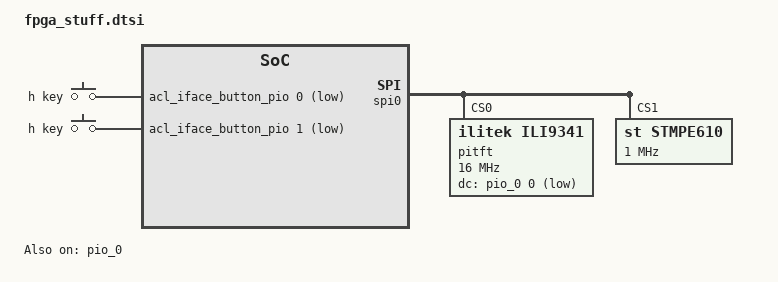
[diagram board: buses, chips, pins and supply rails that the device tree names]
/*
 *  Copyright (C) 2012 Altera Corporation <www.altera.com>
 *
 * This program is free software; you can redistribute it and/or modify
 * it under the terms of the GNU General Public License as published by
 * the Free Software Foundation; either version 2 of the License, or
 * (at your option) any later version.
 *
 * This program is distributed in the hope that it will be useful,
 * but WITHOUT ANY WARRANTY; without even the implied warranty of
 * MERCHANTABILITY or FITNESS FOR A PARTICULAR PURPOSE.  See the
 * GNU General Public License for more details.
 *
 * You should have received a copy of the GNU General Public License
 * along with this program.  If not, see <http://www.gnu.org/licenses/>.
 */

/ {
	#address-cells = <1>;
	#size-cells = <1>;

	hps_0_bridges: bridge@0xc0000000 {
		compatible = "altr,bridge-14.1", "simple-bus";
		reg = <0xc0000000 0x20000000>,
			<0xff200000 0x00200000>;
		reg-names = "axi_h2f", "axi_h2f_lw";
		#address-cells = <2>;
		#size-cells = <1>;
		ranges = <0x00000000 0x00000000 0xc0000000 0x00010000>,
			<0x00000001 0x00002000 0xff202000 0x00000010>,
			<0x00000001 0x00003000 0xff203000 0x00000010>;

		pio_0: gpio@0x100000000 {
			status = "okay";

			compatible = "altr,pio-14.1", "altr,pio-1.0";
			reg = <0x00000001 0x00002000 0x00000010>;
			altr,gpio-bank-width = <32>;	/* embeddedsw.dts.params.altr,gpio-bank-width type NUMBER */
			resetvalue = <0>;	/* embeddedsw.dts.params.resetvalue type NUMBER */
			#gpio-cells = <2>;
			gpio-controller;
		}; //end gpio@0x100000000 (pio_0)
		
		acl_iface_button_pio: gpio@0x100003000 {
			compatible = "altr,pio-15.0", "altr,pio-1.0";
			reg = <0x00000001 0x00003000 0x00000010>;
			interrupt-parent = <&intc>;
			interrupts = <0 41 1>;
			altr,gpio-bank-width = <2>;	/* embeddedsw.dts.params.altr,gpio-bank-width type NUMBER */
			altr,interrupt_type = <2>;	/* embeddedsw.dts.params.altr,interrupt_type type NUMBER */
			edge_type = <1>;	/* embeddedsw.dts.params.edge_type type NUMBER */
			level_trigger = <0>;	/* embeddedsw.dts.params.level_trigger type NUMBER */
			resetvalue = <0>;	/* embeddedsw.dts.params.resetvalue type NUMBER */
			#gpio-cells = <2>;
			gpio-controller;
		}; //end gpio@0x100003000 (acl_iface_button_pio)
	}; //end bridge@0xc0000000 (hps_0_bridges)

	/*
	//doesn't seem to work with gpio driver.  using polled instead.
	gpio_keys {
		compatible = "gpio-keys";
		#address-cells = <1>;
		#size-cells = <0>;
		autorepeat;
		button@21 {
			label = "h key";
			linux,code = <35>;
			gpios = <&acl_iface_button_pio 0 1>;
			gpio-key,wakeup;
			autorepeat;
		};
	};*/
	
	gpio_keys_polled {
		compatible = "gpio-keys-polled";
		#address-cells = <1>;
		#size-cells = <0>;
		poll-interval = <100>;
		//autorepeat;
		button@21 {
			label = "h key";
			linux,code = <35>;
			gpios = <&acl_iface_button_pio 0 1>;
		};
		button@22 {
			label = "h key";
			linux,code = <35>;
			gpios = <&acl_iface_button_pio 1 1>;
		};
		/*button@22 {
			label = "r key";
			linux,code = <19>;
			gpios = <&acl_iface_button_pio 1 1>;
		};*/
	};
};

&spi0 {
/*	compatible = "snps,dw-spi-mmio";
	#address-cells = <1>;
	#size-cells = <0>;
	reg = <0xfff00000 0x1000>;
	interrupts = <0 154 4>;
	num-chipselect = <4>;
	bus-num = <0>;
	tx-dma-channel = <&pdma 16>;
	rx-dma-channel = <&pdma 17>;
	clocks = <&per_base_clk>;*/
	
	pitft: pitft@0{
		compatible = "ilitek,ili9341";
		reg = <0>;
		pinctrl-names = "default";
		dc-gpios = <&pio_0 0 1>;
		spi-max-frequency = <16000000>;
		map = <1>;
		font = "VGA8x16";
		rotate = <270>;
		fps = <25>;
		bgr;
		buswidth = <8>;
		debug = <0>;
	};

	/* TODO: crauer - what is this for? */
	stmpe610: stmpe161@1 {
		spi-max-frequency = <1000000>;
		compatible = "st,stmpe610";
		reg = <1>;
		stmpe_touchscreen {
			compatible = "st,stmpe-ts";
			};
	};
};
